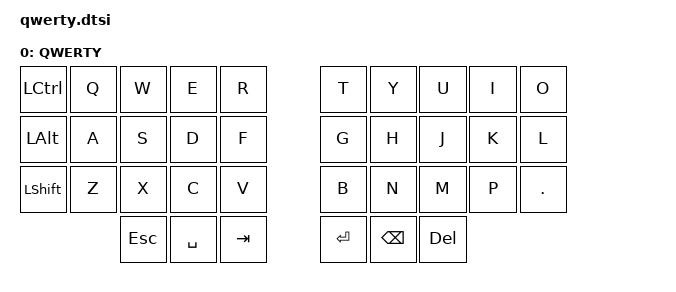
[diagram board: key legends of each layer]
/ {
	keymap {
        compatible = "zmk,keymap";

		qwerty_layer {
			label = "QWERTY";
			bindings = <
                &kp LCTL    &kp Q       &kp W       &kp E       &kp R       &kp T       &kp Y       &kp U       &kp I       &kp O
                &kp LALT    &kp A       &kp S       &kp D       &kp F       &kp G       &kp H       &kp J       &kp K       &kp L 
                &kp LSHFT   &kp Z       &kp X       &kp C       &kp V       &kp B       &kp N       &kp M       &kp P       &kp DOT 
                                        &kp ESC     &kp SPACE   &kp TAB     &kp RET     &kp BSPC    &kp DEL
			>;
		};	
	};
};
